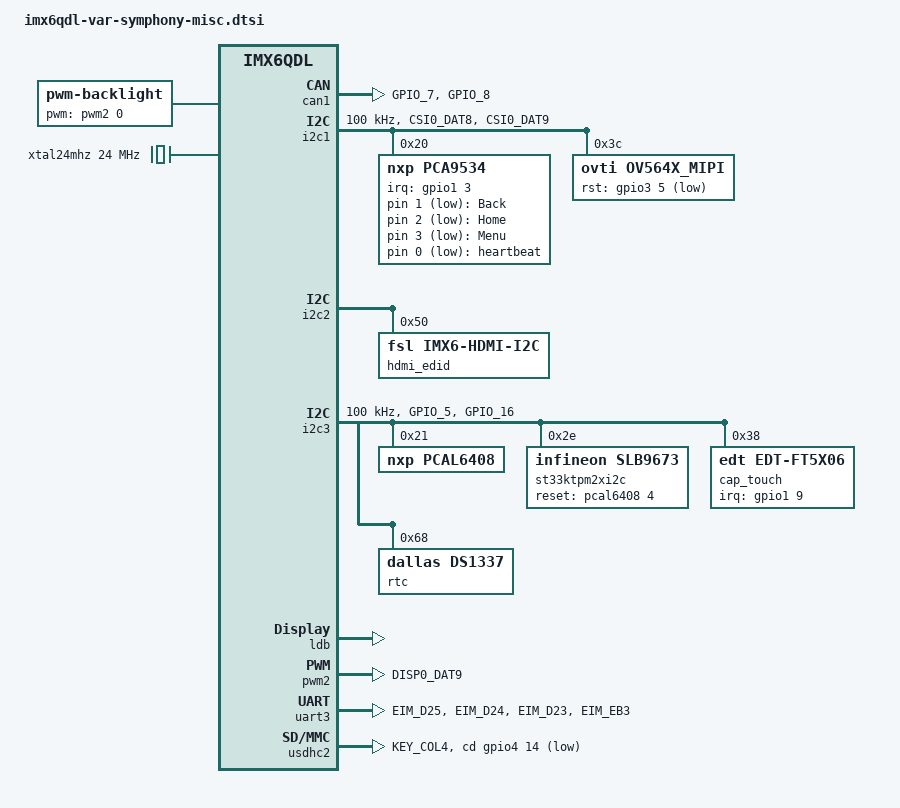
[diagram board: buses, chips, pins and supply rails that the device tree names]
/*
 * Copyright (C) 2020-2024 Variscite Ltd.
 *
 * This program is free software; you can redistribute it and/or modify
 * it under the terms of the GNU General Public License version 2 as
 * published by the Free Software Foundation.
 *
 * Settings for SymphonyBoard
 */

/ {
	backlight {
		compatible = "pwm-backlight";
		pwms = <&pwm2 0 50000>;
		brightness-levels = <0 4 8 16 32 64 128 248>;
		default-brightness-level = <7>;
		status = "okay";
	};

	/* Buttons in the motherboard */
	gpio-keys {
		compatible = "gpio-keys";

		back {
			label = "Back";
			gpios = <&pca9534 1 GPIO_ACTIVE_LOW>;
			linux,code = <KEY_BACK>;
		};

		home {
			label = "Home";
			gpios = <&pca9534 2 GPIO_ACTIVE_LOW>;
			linux,code = <KEY_HOME>;
		};

		menu {
			label = "Menu";
			gpios = <&pca9534 3 GPIO_ACTIVE_LOW>;
			linux,code = <KEY_MENU>;
		};
	};

	gpio-leds {
		compatible = "gpio-leds";
		status = "okay";

		heartbeat {
			label = "heartbeat";
			gpios = <&pca9534 0 GPIO_ACTIVE_LOW>;
			linux,default-trigger = "heartbeat";
		};
	};

	xtal24mhz: xtal24mhz@24M {
		#clock-cells = <0>;
		compatible = "fixed-clock";
		clock-frequency = <24000000>;
	};
};

&can1 {
	pinctrl-names = "default";
	pinctrl-0 = <&pinctrl_flexcan1>;
	status = "okay";
};

&i2c1 {
	clock-frequency = <100000>;
	pinctrl-names = "default";
	pinctrl-0 = <&pinctrl_i2c1>;
	status = "okay";

	/* GPIO expander */
	pca9534:gpio@20 {
		compatible = "nxp,pca9534";
		reg = <0x20>;
		gpio-controller;
		pinctrl-names = "default";
		pinctrl-0 = <&pinctrl_pca9534>;
		interrupt-parent = <&gpio1>;
		interrupts = <3 IRQ_TYPE_EDGE_FALLING>;
		#gpio-cells = <2>;
		wakeup-source;
	};

	ov564x_mipi: ov564x_mipi@3c {
		compatible = "ovti,ov564x_mipi";
		reg = <0x3c>;
		pinctrl-names = "default";
		pinctrl-0 = <&pinctrl_ov564x_mipi>;
		clocks = <&xtal24mhz>;
		clock-names = "csi_mclk";
		rst-gpios = <&gpio3 5 GPIO_ACTIVE_LOW>;
		csi_id = <1>;
		mclk = <24000000>;
		mclk_source = <0>;
	};
};

&i2c2 {
	hdmi_edid: edid@50 {
		compatible = "fsl,imx6-hdmi-i2c";
		reg = <0x50>;
	};
};

&i2c3 {
	clock-frequency = <100000>;
	pinctrl-names = "default";
	pinctrl-0 = <&pinctrl_i2c3>;
	status = "okay";

	/* GPIO Expander */
	pcal6408: gpio@21 {
		compatible = "nxp,pcal6408";
		reg = <0x21>;
		standard-regs-fallback;
		gpio-controller;
		#gpio-cells = <2>;
		status = "okay";

		/*
		* RGB_SEL
		* output-lo: Configure mux for VAR-SOMs LVDS
		* output-hi: Configure mux for VAR-SOM-MX91 RGB2LVDS
		*/
		rgb_sel {
			gpio-hog;
			gpios = <7 GPIO_ACTIVE_HIGH>;
			output-low;
			line-name = "rgb_sel";
		};

		/*
		* The SEC_RSTN line for the TPM2 module has an external
		* pull-down, keeping the module in reset by default.
		* Drive this signal high to release the TPM2 from reset.
		*/
		sec_resetn {
			gpio-hog;
			gpios = <4 GPIO_ACTIVE_HIGH>;
			output-high;
			line-name = "sec_rstn";
		};
	};

	/* TPM */
	st33ktpm2xi2c: st33ktpm2xi2c@2e {
		compatible = "infineon,slb9673", "tcg,tpm-tis-i2c";
		reg = <0x2e>;
		/*
		* reset-gpios is not used by the TPM driver, but forces
		* probe ordering: ensures GPIO expander is initialized
		* and sec_rstn GPIO hog has released TPM from reset
		* before the TPM driver probes.
		*/
		reset-gpios = <&pcal6408 4 GPIO_ACTIVE_HIGH>;
		status = "okay";
	};

	/* Touch */
	cap_touch: ft5x06_ts@38 {
		compatible = "edt,edt-ft5x06";
		reg = <0x38>;
		pinctrl-names = "default";
		pinctrl-0 = <&pinctrl_ft5x06>;
		interrupt-parent = <&gpio1>;
		interrupts = <9 0>;
		touchscreen-size-x = <800>;
		touchscreen-size-y = <480>;
		touchscreen-inverted-x;
		touchscreen-inverted-y;
		wakeup-source;
		status = "okay";
	};

	/* DS1337 RTC module */
	rtc@68 {
		compatible = "dallas,ds1337";
		reg = <0x68>;
	};
};

&iomuxc {
	imx6qdl-var-som-mx6 {
		pinctrl_flexcan1: flexcan1grp {
			fsl,pins = <
				MX6QDL_PAD_GPIO_7__FLEXCAN1_TX		0x80000000
				MX6QDL_PAD_GPIO_8__FLEXCAN1_RX		0x80000000
			>;
		};

		pinctrl_ft5x06: ft5x06grp {
			fsl,pins = <
				MX6QDL_PAD_GPIO_9__GPIO1_IO09		0x80000000
			>;
		};

		pinctrl_i2c1: i2c1grp {
			fsl,pins = <
				MX6QDL_PAD_CSI0_DAT8__I2C1_SDA		0x4001b8b1
				MX6QDL_PAD_CSI0_DAT9__I2C1_SCL		0x4001b8b1
			>;
		};

		pinctrl_i2c3: i2c3grp {
			fsl,pins = <
				MX6QDL_PAD_GPIO_5__I2C3_SCL		0x4001b8b1
				MX6QDL_PAD_GPIO_16__I2C3_SDA		0x4001b8b1
			>;
		};
		pinctrl_ov564x_mipi: ov564xmipigrp {
			fsl,pins = <
				/* J1.86-MIPI_CAM_BUF_CTL: pull up present
				 * pull dowm to manage additional signals
				 * like trigger, powerdown, opt, sync
				 */
				MX6QDL_PAD_EIM_D19__GPIO3_IO19		0x80000000
				/* Camera reset */
				MX6QDL_PAD_EIM_DA5__GPIO3_IO05		0x80000000
			>;
		};
		pinctrl_pca9534: pca9534grp {
			fsl,pins = <
				MX6QDL_PAD_GPIO_3__GPIO1_IO03		0x80000000
			>;
		};

		pinctrl_pwm2: pwm2grp {
			fsl,pins = <
				MX6QDL_PAD_DISP0_DAT9__PWM2_OUT		0x1b0b1
			>;
		};

		/* Variscite Uart3 support */
		pinctrl_uart3: uart3grp {	/* RX/TX RTS/CTS */
			fsl,pins = <
				MX6QDL_PAD_EIM_D25__UART3_RX_DATA	0x1b0b1
				MX6QDL_PAD_EIM_D24__UART3_TX_DATA	0x1b0b1
				MX6QDL_PAD_EIM_D23__UART3_CTS_B		0x1b0b1
				MX6QDL_PAD_EIM_EB3__UART3_RTS_B		0x1b0b1
			>;
		};

		pinctrl_usdhc2_gpio: usdhc2gpiogrp {
			fsl,pins = <
				/* SDMMC2 CD */
				MX6QDL_PAD_KEY_COL4__GPIO4_IO14		0x80000000
			>;
		};
	};
};

&ldb {
	status = "okay";

	lvds-channel@0 {
		fsl,data-mapping = "spwg";
		fsl,data-width = <18>;
		primary;
		status = "okay";

		display-timings {
			native-mode = <&timing0>;
			timing0: hsd100pxn1 {
				clock-frequency = <32000000>;
				hactive = <800>;
				vactive = <480>;
				hback-porch = <39>;
				hfront-porch = <39>;
				vback-porch = <29>;
				vfront-porch = <13>;
				hsync-len = <47>;
				vsync-len = <2>;
			};
		};
	};

	lvds-channel@1 {
		fsl,data-mapping = "spwg";
		fsl,data-width = <18>;
		status = "okay";

		display-timings {
			native-mode = <&timing1>;
			timing1: hsd100pxn1 {
				clock-frequency = <32000000>;
				hactive = <800>;
				vactive = <480>;
				hback-porch = <39>;
				hfront-porch = <39>;
				vback-porch = <29>;
				vfront-porch = <13>;
				hsync-len = <47>;
				vsync-len = <2>;
			};
		};
	};
};

&mxcfb1 {
	interface_pix_fmt = "RGB666";
};

&pcie {
	reset-gpio = <&pcal6408 1 GPIO_ACTIVE_LOW>;
	/* Symphony board has been designed for iMX8 families SoMs and
	 * provides an external clock source (U6).
	 * To use iMX6 SoMs, there are 2 possible choices:
	 * 1) use internal SoC clock: install R21 (to disable ext clock)
	 *    install 100nF instead of R37,R38, remove R22,R23,R35,R36
	 * 2) use external clock: PLL6 bypass mode is mandatory required when
	 *    external oscillator is used as pcie ref clk.
	 *    Also, disable fec/sata, because they can't provide internal
	 *    reference clocks when pll6 is in bypass mode.
	 *    NXP REF: MLK-13186
	 */
	status = "disabled";
};

&pwm2 {
	#pwm-cells = <2>;
	pinctrl-names = "default";
	pinctrl-0 = <&pinctrl_pwm2>;
	status = "okay";
};

/* ttymxc2 UART */
&uart3 {
	pinctrl-names = "default";
	pinctrl-0 = <&pinctrl_uart3>;
	uart-has-rtscts;
	status = "okay";
};

&usdhc2 {	/* uSDHC2, MMC/SD card */
	pinctrl-names = "default";
	pinctrl-0 = <&pinctrl_usdhc2>, <&pinctrl_usdhc2_gpio>;
	cd-gpios = <&gpio4 14 GPIO_ACTIVE_LOW>;
	no-1-8-v;
	keep-power-in-suspend;
	enable-sdio-wakeup;
	status = "okay";
};
